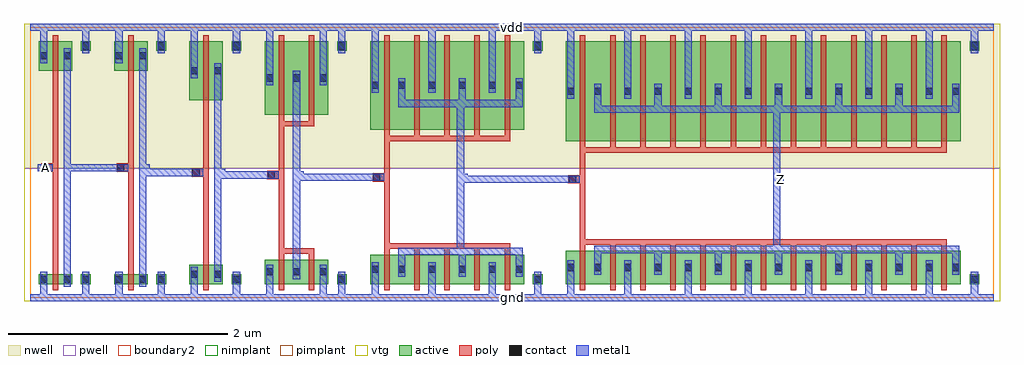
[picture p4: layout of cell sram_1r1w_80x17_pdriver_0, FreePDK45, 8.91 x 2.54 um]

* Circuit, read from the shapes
.subckt sram_1r1w_80x17_pdriver_0 A Z gnd vdd
M1 sram_1r1w_80x17_pinv_7_1/A A gnd gnd nfet w=0.09u l=0.05u
M2 sram_1r1w_80x17_pinv_8_2/A sram_1r1w_80x17_pinv_7_1/A gnd gnd nfet w=0.09u l=0.05u
M3 sram_1r1w_80x17_pinv_9_3/A sram_1r1w_80x17_pinv_8_2/A gnd gnd nfet w=0.18u l=0.05u
M4 sram_1r1w_80x17_pinv_10_4/A sram_1r1w_80x17_pinv_9_3/A gnd gnd nfet w=0.225u l=0.05u m=2
M5 sram_1r1w_80x17_pinv_11_5/A sram_1r1w_80x17_pinv_10_4/A gnd gnd nfet w=0.27u l=0.05u m=5
M6 Z sram_1r1w_80x17_pinv_11_5/A gnd gnd nfet w=0.305u l=0.05u m=13
M7 sram_1r1w_80x17_pinv_7_1/A A vdd vdd pfet w=0.27u l=0.05u
M8 sram_1r1w_80x17_pinv_8_2/A sram_1r1w_80x17_pinv_7_1/A vdd vdd pfet w=0.27u l=0.05u
M9 sram_1r1w_80x17_pinv_9_3/A sram_1r1w_80x17_pinv_8_2/A vdd vdd pfet w=0.54u l=0.05u
M10 sram_1r1w_80x17_pinv_10_4/A sram_1r1w_80x17_pinv_9_3/A vdd vdd pfet w=0.675u l=0.05u m=2
M11 sram_1r1w_80x17_pinv_11_5/A sram_1r1w_80x17_pinv_10_4/A vdd vdd pfet w=0.81u l=0.05u m=5
M12 Z sram_1r1w_80x17_pinv_11_5/A vdd vdd pfet w=0.915u l=0.05u m=13
.ends

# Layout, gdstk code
import gdstk
lib = gdstk.Library(unit=1e-6, precision=5e-10)
def R(c, l, rs):  # rectangles x0, y0, x1, y1
    for r in rs: c.add(gdstk.rectangle(r[:2], r[2:], *l))
def A(c, l, x, y, w, h, nx, ny, dx, dy):  # array of equal rectangles
    R(c, l, [(x+i*dx, y+j*dy, x+i*dx+w, y+j*dy+h) for i in range(nx) for j in range(ny)])
active = (1, 0)
pwell = (2, 0)
nwell = (3, 0)
nimplant = (4, 0)
pimplant = (5, 0)
vtg = (6, 0)
poly = (9, 0)
contact = (10, 0)
metal1 = (11, 0)
boundary2 = (239, 0)

sram_1r1w_80x17_contact_ = lib.new_cell('sram_1r1w_80x17_contact_11')
R(sram_1r1w_80x17_contact_, active, [(0,0.0225,0.09,0.1125)])
R(sram_1r1w_80x17_contact_, nwell, [(-0.055,-0.0325,0.145,0.1675)])
R(sram_1r1w_80x17_contact_, pimplant, [(0,0.0225,0.09,0.1125)])
R(sram_1r1w_80x17_contact_, contact, [(0.0125,0.035,0.0775,0.1)])
R(sram_1r1w_80x17_contact_, metal1, [(0.0125,0,0.0775,0.135)])
R(sram_1r1w_80x17_contact_, boundary2, [(-0.055,-0.0325,0.145,0.1675)])

sram_1r1w_80x17_pmos_m1_ = lib.new_cell('sram_1r1w_80x17_pmos_m1_w0_270_sm1_dm1_da_p')
R(sram_1r1w_80x17_pmos_m1_, active, [(0,0,0.305,0.27)])
R(sram_1r1w_80x17_pmos_m1_, nwell, [(-0.08,-0.08,0.385,0.35)])
R(sram_1r1w_80x17_pmos_m1_, pimplant, [(0,0,0.305,0.27)])
R(sram_1r1w_80x17_pmos_m1_, vtg, [(-0.08,-0.08,0.385,0.35)])
R(sram_1r1w_80x17_pmos_m1_, poly, [(0.1275,-0.055,0.1775,0.325), (0.1275,-0.055,0.1775,0.325)])
R(sram_1r1w_80x17_pmos_m1_, metal1, [(0.0125,0.0675,0.0775,0.2025), (0.2275,0.0675,0.2925,0.2025)])
R(sram_1r1w_80x17_pmos_m1_, boundary2, [(-0.08,-0.08,0.385,0.35)])
sram_1r1w_80x17_pmos_m1_.add(gdstk.Reference(sram_1r1w_80x17_contact_, (0,0.0675)))
sram_1r1w_80x17_pmos_m1_.add(gdstk.Reference(sram_1r1w_80x17_contact_, (0.215,0.0675)))
sram_1r1w_80x17_pmos_m1_.add(gdstk.Label('G', (0.1525,0.135), layer=9, texttype=0))
sram_1r1w_80x17_pmos_m1_.add(gdstk.Label('S', (0.045,0.135), layer=11, texttype=0))
sram_1r1w_80x17_pmos_m1_.add(gdstk.Label('D', (0.26,0.135), layer=11, texttype=0))

c_sram_1r1w_80x17_contact_ = lib.new_cell('sram_1r1w_80x17_contact_10')
R(c_sram_1r1w_80x17_contact_, active, [(0,0.0225,0.09,0.1125)])
R(c_sram_1r1w_80x17_contact_, pwell, [(-0.055,-0.0325,0.145,0.1675)])
R(c_sram_1r1w_80x17_contact_, nimplant, [(0,0.0225,0.09,0.1125)])
R(c_sram_1r1w_80x17_contact_, contact, [(0.0125,0.035,0.0775,0.1)])
R(c_sram_1r1w_80x17_contact_, metal1, [(0.0125,0,0.0775,0.135)])
R(c_sram_1r1w_80x17_contact_, boundary2, [(-0.055,-0.0325,0.145,0.1675)])

sram_1r1w_80x17_nmos_m1_ = lib.new_cell('sram_1r1w_80x17_nmos_m1_w0_090_sm1_dm1_da_p')
R(sram_1r1w_80x17_nmos_m1_, active, [(0,0,0.305,0.09)])
R(sram_1r1w_80x17_nmos_m1_, pwell, [(-0.08,-0.08,0.385,0.17)])
R(sram_1r1w_80x17_nmos_m1_, nimplant, [(0,0,0.305,0.09)])
R(sram_1r1w_80x17_nmos_m1_, vtg, [(-0.08,-0.08,0.385,0.17)])
R(sram_1r1w_80x17_nmos_m1_, poly, [(0.1275,-0.055,0.1775,0.145), (0.1275,-0.055,0.1775,0.145)])
R(sram_1r1w_80x17_nmos_m1_, metal1, [(0.0125,-0.0225,0.0775,0.1125), (0.2275,-0.0225,0.2925,0.1125)])
R(sram_1r1w_80x17_nmos_m1_, boundary2, [(-0.08,-0.08,0.385,0.17)])
sram_1r1w_80x17_nmos_m1_.add(gdstk.Reference(c_sram_1r1w_80x17_contact_, (0,-0.0225)))
sram_1r1w_80x17_nmos_m1_.add(gdstk.Reference(c_sram_1r1w_80x17_contact_, (0.215,-0.0225)))
sram_1r1w_80x17_nmos_m1_.add(gdstk.Label('G', (0.1525,0.045), layer=9, texttype=0))
sram_1r1w_80x17_nmos_m1_.add(gdstk.Label('S', (0.045,0.045), layer=11, texttype=0))
sram_1r1w_80x17_nmos_m1_.add(gdstk.Label('D', (0.26,0.045), layer=11, texttype=0))

c_sram_1r1w_80x17_contact__ = lib.new_cell('sram_1r1w_80x17_contact_12')
R(c_sram_1r1w_80x17_contact__, active, [(0,0.0225,0.09,0.1125)])
R(c_sram_1r1w_80x17_contact__, nwell, [(-0.055,-0.0325,0.145,0.1675)])
R(c_sram_1r1w_80x17_contact__, nimplant, [(0,0.0225,0.09,0.1125)])
R(c_sram_1r1w_80x17_contact__, contact, [(0.0125,0.035,0.0775,0.1)])
R(c_sram_1r1w_80x17_contact__, metal1, [(0.0125,0,0.0775,0.135)])
R(c_sram_1r1w_80x17_contact__, boundary2, [(-0.055,-0.0325,0.145,0.1675)])

c_sram_1r1w_80x17_contact___ = lib.new_cell('sram_1r1w_80x17_contact_13')
R(c_sram_1r1w_80x17_contact___, active, [(0,0.0225,0.09,0.1125)])
R(c_sram_1r1w_80x17_contact___, pwell, [(-0.055,-0.0325,0.145,0.1675)])
R(c_sram_1r1w_80x17_contact___, pimplant, [(0,0.0225,0.09,0.1125)])
R(c_sram_1r1w_80x17_contact___, contact, [(0.0125,0.035,0.0775,0.1)])
R(c_sram_1r1w_80x17_contact___, metal1, [(0.0125,0,0.0775,0.135)])
R(c_sram_1r1w_80x17_contact___, boundary2, [(-0.055,-0.0325,0.145,0.1675)])

c_sram_1r1w_80x17_contact____ = lib.new_cell('sram_1r1w_80x17_contact_14')
R(c_sram_1r1w_80x17_contact____, poly, [(0.03,0,0.105,0.075)])
R(c_sram_1r1w_80x17_contact____, contact, [(0.035,0.005,0.1,0.07)])
R(c_sram_1r1w_80x17_contact____, metal1, [(0,0.005,0.135,0.07)])
R(c_sram_1r1w_80x17_contact____, boundary2, [(0,0,0.135,0.075)])

sram_1r1w_80x17_pinv_7 = lib.new_cell('sram_1r1w_80x17_pinv_7')
R(sram_1r1w_80x17_pinv_7, pwell, [(-0.055,-0.0325,0.7425,1.185)])
R(sram_1r1w_80x17_pinv_7, nwell, [(-0.055,1.185,0.7425,2.505)])
R(sram_1r1w_80x17_pinv_7, vtg, [(-0.055,-0.0325,0.7425,1.185), (-0.055,1.185,0.7425,2.505)])
R(sram_1r1w_80x17_pinv_7, poly, [(0.2075,0.27,0.2575,2.02), (0.14,1.1525,0.2075,1.2275)])
R(sram_1r1w_80x17_pinv_7, metal1, [(0,-0.0325,0.6875,0.0325), (0.0925,-0.0325,0.1575,0.1025), (0.4775,0,0.5425,0.17), (0.3075,0.1025,0.3725,2.2775), (0.0725,1.1575,0.2075,1.2225), (0.34,1.1575,0.405,1.2225), (0.0925,2.1425,0.1575,2.5025), (0.4775,2.3,0.5425,2.47), (0,2.4375,0.6875,2.5025)])
R(sram_1r1w_80x17_pinv_7, boundary2, [(0,0,0.6875,2.47), (0,0,0.6875,2.47)])
sram_1r1w_80x17_pinv_7.add(gdstk.Reference(sram_1r1w_80x17_pmos_m1_, (0.08,2.075)))
sram_1r1w_80x17_pinv_7.add(gdstk.Reference(sram_1r1w_80x17_nmos_m1_, (0.08,0.125)))
sram_1r1w_80x17_pinv_7.add(gdstk.Reference(c_sram_1r1w_80x17_contact__, (0.465,2.2325)))
sram_1r1w_80x17_pinv_7.add(gdstk.Reference(c_sram_1r1w_80x17_contact___, (0.465,0.1025)))
sram_1r1w_80x17_pinv_7.add(gdstk.Reference(c_sram_1r1w_80x17_contact____, (0.0725,1.1525)))
sram_1r1w_80x17_pinv_7.add(gdstk.Label('A', (0.14,1.19), layer=11, texttype=0))
sram_1r1w_80x17_pinv_7.add(gdstk.Label('Z', (0.3725,1.19), layer=11, texttype=0))
sram_1r1w_80x17_pinv_7.add(gdstk.Label('gnd', (0.344,0), layer=11, texttype=0))
sram_1r1w_80x17_pinv_7.add(gdstk.Label('vdd', (0.344,2.47), layer=11, texttype=0))

c_sram_1r1w_80x17_pmos_m1_ = lib.new_cell('sram_1r1w_80x17_pmos_m1_w0_540_sm1_dm1_da_p')
R(c_sram_1r1w_80x17_pmos_m1_, active, [(0,0,0.305,0.54)])
R(c_sram_1r1w_80x17_pmos_m1_, nwell, [(-0.08,-0.08,0.385,0.62)])
R(c_sram_1r1w_80x17_pmos_m1_, pimplant, [(0,0,0.305,0.54)])
R(c_sram_1r1w_80x17_pmos_m1_, vtg, [(-0.08,-0.08,0.385,0.62)])
R(c_sram_1r1w_80x17_pmos_m1_, poly, [(0.1275,-0.055,0.1775,0.595), (0.1275,-0.055,0.1775,0.595)])
R(c_sram_1r1w_80x17_pmos_m1_, metal1, [(0.0125,0.2025,0.0775,0.3375), (0.2275,0.2025,0.2925,0.3375)])
R(c_sram_1r1w_80x17_pmos_m1_, boundary2, [(-0.08,-0.08,0.385,0.62)])
c_sram_1r1w_80x17_pmos_m1_.add(gdstk.Reference(sram_1r1w_80x17_contact_, (0,0.2025)))
c_sram_1r1w_80x17_pmos_m1_.add(gdstk.Reference(sram_1r1w_80x17_contact_, (0.215,0.2025)))
c_sram_1r1w_80x17_pmos_m1_.add(gdstk.Label('G', (0.1525,0.27), layer=9, texttype=0))
c_sram_1r1w_80x17_pmos_m1_.add(gdstk.Label('S', (0.045,0.27), layer=11, texttype=0))
c_sram_1r1w_80x17_pmos_m1_.add(gdstk.Label('D', (0.26,0.27), layer=11, texttype=0))

c_sram_1r1w_80x17_nmos_m1_ = lib.new_cell('sram_1r1w_80x17_nmos_m1_w0_180_sm1_dm1_da_p')
R(c_sram_1r1w_80x17_nmos_m1_, active, [(0,0,0.305,0.18)])
R(c_sram_1r1w_80x17_nmos_m1_, pwell, [(-0.08,-0.08,0.385,0.26)])
R(c_sram_1r1w_80x17_nmos_m1_, nimplant, [(0,0,0.305,0.18)])
R(c_sram_1r1w_80x17_nmos_m1_, vtg, [(-0.08,-0.08,0.385,0.26)])
R(c_sram_1r1w_80x17_nmos_m1_, poly, [(0.1275,-0.055,0.1775,0.235), (0.1275,-0.055,0.1775,0.235)])
R(c_sram_1r1w_80x17_nmos_m1_, metal1, [(0.0125,0.0225,0.0775,0.1575), (0.2275,0.0225,0.2925,0.1575)])
R(c_sram_1r1w_80x17_nmos_m1_, boundary2, [(-0.08,-0.08,0.385,0.26)])
c_sram_1r1w_80x17_nmos_m1_.add(gdstk.Reference(c_sram_1r1w_80x17_contact_, (0,0.0225)))
c_sram_1r1w_80x17_nmos_m1_.add(gdstk.Reference(c_sram_1r1w_80x17_contact_, (0.215,0.0225)))
c_sram_1r1w_80x17_nmos_m1_.add(gdstk.Label('G', (0.1525,0.09), layer=9, texttype=0))
c_sram_1r1w_80x17_nmos_m1_.add(gdstk.Label('S', (0.045,0.09), layer=11, texttype=0))
c_sram_1r1w_80x17_nmos_m1_.add(gdstk.Label('D', (0.26,0.09), layer=11, texttype=0))

sram_1r1w_80x17_pinv_8 = lib.new_cell('sram_1r1w_80x17_pinv_8')
R(sram_1r1w_80x17_pinv_8, pwell, [(-0.055,-0.0325,0.7425,1.185)])
R(sram_1r1w_80x17_pinv_8, nwell, [(-0.055,1.185,0.7425,2.505)])
R(sram_1r1w_80x17_pinv_8, vtg, [(-0.055,-0.0325,0.7425,1.185), (-0.055,1.185,0.7425,2.505)])
R(sram_1r1w_80x17_pinv_8, poly, [(0.2075,0.36,0.2575,1.75), (0.14,1.1075,0.2075,1.1825)])
R(sram_1r1w_80x17_pinv_8, metal1, [(0,-0.0325,0.6875,0.0325), (0.0925,-0.0325,0.1575,0.1475), (0.4775,0,0.5425,0.17), (0.3075,0.1475,0.3725,2.1425), (0.0725,1.1125,0.2075,1.1775), (0.34,1.1125,0.405,1.1775), (0.0925,2.0075,0.1575,2.5025), (0.4775,2.3,0.5425,2.47), (0,2.4375,0.6875,2.5025)])
R(sram_1r1w_80x17_pinv_8, boundary2, [(0,0,0.6875,2.47), (0,0,0.6875,2.47)])
sram_1r1w_80x17_pinv_8.add(gdstk.Reference(c_sram_1r1w_80x17_pmos_m1_, (0.08,1.805)))
sram_1r1w_80x17_pinv_8.add(gdstk.Reference(c_sram_1r1w_80x17_nmos_m1_, (0.08,0.125)))
sram_1r1w_80x17_pinv_8.add(gdstk.Reference(c_sram_1r1w_80x17_contact__, (0.465,2.2325)))
sram_1r1w_80x17_pinv_8.add(gdstk.Reference(c_sram_1r1w_80x17_contact___, (0.465,0.1025)))
sram_1r1w_80x17_pinv_8.add(gdstk.Reference(c_sram_1r1w_80x17_contact____, (0.0725,1.1075)))
sram_1r1w_80x17_pinv_8.add(gdstk.Label('A', (0.14,1.145), layer=11, texttype=0))
sram_1r1w_80x17_pinv_8.add(gdstk.Label('Z', (0.3725,1.145), layer=11, texttype=0))
sram_1r1w_80x17_pinv_8.add(gdstk.Label('gnd', (0.344,0), layer=11, texttype=0))
sram_1r1w_80x17_pinv_8.add(gdstk.Label('vdd', (0.344,2.47), layer=11, texttype=0))

sram_1r1w_80x17_pmos_m2_ = lib.new_cell('sram_1r1w_80x17_pmos_m2_w0_675_sm1_dm1_da_p')
R(sram_1r1w_80x17_pmos_m2_, active, [(0,0,0.58,0.675)])
R(sram_1r1w_80x17_pmos_m2_, nwell, [(-0.08,-0.08,0.66,0.755)])
R(sram_1r1w_80x17_pmos_m2_, pimplant, [(0,0,0.58,0.675)])
R(sram_1r1w_80x17_pmos_m2_, vtg, [(-0.08,-0.08,0.66,0.755)])
R(sram_1r1w_80x17_pmos_m2_, poly, [(0.1275,-0.105,0.4525,-0.055), (0.1275,-0.055,0.1775,0.73), (0.4025,-0.055,0.4525,0.73)])
A(sram_1r1w_80x17_pmos_m2_, metal1, 0.0125, 0.27, 0.065, 0.135, 3, 1, 0.245, 0)
R(sram_1r1w_80x17_pmos_m2_, boundary2, [(-0.08,-0.105,0.66,0.755)])
sram_1r1w_80x17_pmos_m2_.add(gdstk.Reference(sram_1r1w_80x17_contact_, (0,0.27)))
sram_1r1w_80x17_pmos_m2_.add(gdstk.Reference(sram_1r1w_80x17_contact_, (0.245,0.27)))
sram_1r1w_80x17_pmos_m2_.add(gdstk.Reference(sram_1r1w_80x17_contact_, (0.49,0.27)))
sram_1r1w_80x17_pmos_m2_.add(gdstk.Label('G', (0.29,-0.08), layer=9, texttype=0))
sram_1r1w_80x17_pmos_m2_.add(gdstk.Label('S', (0.535,0.3375), layer=11, texttype=0))
sram_1r1w_80x17_pmos_m2_.add(gdstk.Label('S', (0.045,0.3375), layer=11, texttype=0))
sram_1r1w_80x17_pmos_m2_.add(gdstk.Label('D', (0.29,0.3375), layer=11, texttype=0))

sram_1r1w_80x17_nmos_m2_ = lib.new_cell('sram_1r1w_80x17_nmos_m2_w0_225_sm1_dm1_da_p')
R(sram_1r1w_80x17_nmos_m2_, active, [(0,0,0.58,0.225)])
R(sram_1r1w_80x17_nmos_m2_, pwell, [(-0.08,-0.08,0.66,0.305)])
R(sram_1r1w_80x17_nmos_m2_, nimplant, [(0,0,0.58,0.225)])
R(sram_1r1w_80x17_nmos_m2_, vtg, [(-0.08,-0.08,0.66,0.305)])
R(sram_1r1w_80x17_nmos_m2_, poly, [(0.1275,-0.055,0.1775,0.28), (0.4025,-0.055,0.4525,0.28), (0.1275,0.28,0.4525,0.33)])
A(sram_1r1w_80x17_nmos_m2_, metal1, 0.0125, 0.045, 0.065, 0.135, 3, 1, 0.245, 0)
R(sram_1r1w_80x17_nmos_m2_, boundary2, [(-0.08,-0.08,0.66,0.33)])
sram_1r1w_80x17_nmos_m2_.add(gdstk.Reference(c_sram_1r1w_80x17_contact_, (0,0.045)))
sram_1r1w_80x17_nmos_m2_.add(gdstk.Reference(c_sram_1r1w_80x17_contact_, (0.245,0.045)))
sram_1r1w_80x17_nmos_m2_.add(gdstk.Reference(c_sram_1r1w_80x17_contact_, (0.49,0.045)))
sram_1r1w_80x17_nmos_m2_.add(gdstk.Label('G', (0.29,0.305), layer=9, texttype=0))
sram_1r1w_80x17_nmos_m2_.add(gdstk.Label('S', (0.535,0.1125), layer=11, texttype=0))
sram_1r1w_80x17_nmos_m2_.add(gdstk.Label('S', (0.045,0.1125), layer=11, texttype=0))
sram_1r1w_80x17_nmos_m2_.add(gdstk.Label('D', (0.29,0.1125), layer=11, texttype=0))

sram_1r1w_80x17_pinv_9 = lib.new_cell('sram_1r1w_80x17_pinv_9')
R(sram_1r1w_80x17_pinv_9, pwell, [(-0.055,-0.0325,1.0175,1.185)])
R(sram_1r1w_80x17_pinv_9, nwell, [(-0.055,1.185,1.0175,2.505)])
R(sram_1r1w_80x17_pinv_9, vtg, [(-0.055,-0.0325,1.0175,1.185), (-0.055,1.185,1.0175,2.505)])
R(sram_1r1w_80x17_pinv_9, poly, [(0.2075,0.455,0.2575,1.565), (0.14,1.085,0.2075,1.16)])
R(sram_1r1w_80x17_pinv_9, metal1, [(0,-0.0325,0.9625,0.0325), (0.0925,-0.0325,0.1575,0.17), (0.5825,-0.0325,0.6475,0.17), (0.7525,0,0.8175,0.17), (0.3375,0.17,0.4025,2.075), (0.0725,1.09,0.2075,1.155), (0.37,1.09,0.435,1.155), (0.0925,1.94,0.1575,2.5025), (0.5825,1.94,0.6475,2.5025), (0.7525,2.3,0.8175,2.47), (0,2.4375,0.9625,2.5025)])
R(sram_1r1w_80x17_pinv_9, boundary2, [(0,0,0.9625,2.47), (0,0,0.9625,2.47)])
sram_1r1w_80x17_pinv_9.add(gdstk.Reference(sram_1r1w_80x17_pmos_m2_, (0.08,1.67)))
sram_1r1w_80x17_pinv_9.add(gdstk.Reference(sram_1r1w_80x17_nmos_m2_, (0.08,0.125)))
sram_1r1w_80x17_pinv_9.add(gdstk.Reference(c_sram_1r1w_80x17_contact__, (0.74,2.2325)))
sram_1r1w_80x17_pinv_9.add(gdstk.Reference(c_sram_1r1w_80x17_contact___, (0.74,0.1025)))
sram_1r1w_80x17_pinv_9.add(gdstk.Reference(c_sram_1r1w_80x17_contact____, (0.0725,1.085)))
sram_1r1w_80x17_pinv_9.add(gdstk.Label('A', (0.14,1.1225), layer=11, texttype=0))
sram_1r1w_80x17_pinv_9.add(gdstk.Label('Z', (0.4025,1.1225), layer=11, texttype=0))
sram_1r1w_80x17_pinv_9.add(gdstk.Label('gnd', (0.481,0), layer=11, texttype=0))
sram_1r1w_80x17_pinv_9.add(gdstk.Label('vdd', (0.481,2.47), layer=11, texttype=0))

sram_1r1w_80x17_pmos_m5_ = lib.new_cell('sram_1r1w_80x17_pmos_m5_w0_810_sm1_dm1_da_p')
R(sram_1r1w_80x17_pmos_m5_, active, [(0,0,1.405,0.81)])
R(sram_1r1w_80x17_pmos_m5_, nwell, [(-0.08,-0.08,1.485,0.89)])
R(sram_1r1w_80x17_pmos_m5_, pimplant, [(0,0,1.405,0.81)])
R(sram_1r1w_80x17_pmos_m5_, vtg, [(-0.08,-0.08,1.485,0.89)])
A(sram_1r1w_80x17_pmos_m5_, poly, 0.1275, -0.055, 0.05, 0.92, 5, 1, 0.275, 0)
R(sram_1r1w_80x17_pmos_m5_, poly, [(0.1275,-0.105,1.2775,-0.055)])
R(sram_1r1w_80x17_pmos_m5_, metal1, [(0.2575,0.2075,1.3925,0.2725), (0.2575,0.24,0.3225,0.405), (0.8075,0.24,0.8725,0.405), (1.3275,0.24,1.3925,0.405), (0.0125,0.3375,0.0775,0.4725), (0.5325,0.3375,0.5975,0.4725), (1.0825,0.3375,1.1475,0.4725)])
R(sram_1r1w_80x17_pmos_m5_, boundary2, [(-0.08,-0.105,1.485,0.89)])
sram_1r1w_80x17_pmos_m5_.add(gdstk.Reference(sram_1r1w_80x17_contact_, (0,0.3375)))
sram_1r1w_80x17_pmos_m5_.add(gdstk.Reference(sram_1r1w_80x17_contact_, (0.245,0.3375)))
sram_1r1w_80x17_pmos_m5_.add(gdstk.Reference(sram_1r1w_80x17_contact_, (0.52,0.3375)))
sram_1r1w_80x17_pmos_m5_.add(gdstk.Reference(sram_1r1w_80x17_contact_, (0.795,0.3375)))
sram_1r1w_80x17_pmos_m5_.add(gdstk.Reference(sram_1r1w_80x17_contact_, (1.07,0.3375)))
sram_1r1w_80x17_pmos_m5_.add(gdstk.Reference(sram_1r1w_80x17_contact_, (1.315,0.3375)))
sram_1r1w_80x17_pmos_m5_.add(gdstk.Label('G', (0.7025,-0.08), layer=9, texttype=0))
sram_1r1w_80x17_pmos_m5_.add(gdstk.Label('S', (0.045,0.405), layer=11, texttype=0))
sram_1r1w_80x17_pmos_m5_.add(gdstk.Label('S', (1.115,0.405), layer=11, texttype=0))
sram_1r1w_80x17_pmos_m5_.add(gdstk.Label('S', (0.565,0.405), layer=11, texttype=0))
sram_1r1w_80x17_pmos_m5_.add(gdstk.Label('D', (0.825,0.24), layer=11, texttype=0))

sram_1r1w_80x17_nmos_m5_ = lib.new_cell('sram_1r1w_80x17_nmos_m5_w0_270_sm1_dm1_da_p')
R(sram_1r1w_80x17_nmos_m5_, active, [(0,0,1.405,0.27)])
R(sram_1r1w_80x17_nmos_m5_, pwell, [(-0.08,-0.08,1.485,0.35)])
R(sram_1r1w_80x17_nmos_m5_, nimplant, [(0,0,1.405,0.27)])
R(sram_1r1w_80x17_nmos_m5_, vtg, [(-0.08,-0.08,1.485,0.35)])
A(sram_1r1w_80x17_nmos_m5_, poly, 0.1275, -0.055, 0.05, 0.38, 5, 1, 0.275, 0)
R(sram_1r1w_80x17_nmos_m5_, poly, [(0.1275,0.325,1.2775,0.375)])
R(sram_1r1w_80x17_nmos_m5_, metal1, [(0.0125,0.0675,0.0775,0.2025), (0.5325,0.0675,0.5975,0.2025), (1.0825,0.0675,1.1475,0.2025), (0.2575,0.135,0.3225,0.3), (0.8075,0.135,0.8725,0.3), (1.3275,0.135,1.3925,0.3), (0.2575,0.2675,1.3925,0.3325)])
R(sram_1r1w_80x17_nmos_m5_, boundary2, [(-0.08,-0.08,1.485,0.375)])
sram_1r1w_80x17_nmos_m5_.add(gdstk.Reference(c_sram_1r1w_80x17_contact_, (0,0.0675)))
sram_1r1w_80x17_nmos_m5_.add(gdstk.Reference(c_sram_1r1w_80x17_contact_, (0.245,0.0675)))
sram_1r1w_80x17_nmos_m5_.add(gdstk.Reference(c_sram_1r1w_80x17_contact_, (0.52,0.0675)))
sram_1r1w_80x17_nmos_m5_.add(gdstk.Reference(c_sram_1r1w_80x17_contact_, (0.795,0.0675)))
sram_1r1w_80x17_nmos_m5_.add(gdstk.Reference(c_sram_1r1w_80x17_contact_, (1.07,0.0675)))
sram_1r1w_80x17_nmos_m5_.add(gdstk.Reference(c_sram_1r1w_80x17_contact_, (1.315,0.0675)))
sram_1r1w_80x17_nmos_m5_.add(gdstk.Label('G', (0.7025,0.35), layer=9, texttype=0))
sram_1r1w_80x17_nmos_m5_.add(gdstk.Label('S', (0.565,0.135), layer=11, texttype=0))
sram_1r1w_80x17_nmos_m5_.add(gdstk.Label('S', (0.045,0.135), layer=11, texttype=0))
sram_1r1w_80x17_nmos_m5_.add(gdstk.Label('S', (1.115,0.135), layer=11, texttype=0))
sram_1r1w_80x17_nmos_m5_.add(gdstk.Label('D', (0.825,0.3), layer=11, texttype=0))

sram_1r1w_80x17_pinv_10 = lib.new_cell('sram_1r1w_80x17_pinv_10')
R(sram_1r1w_80x17_pinv_10, pwell, [(-0.055,-0.0325,1.8425,1.185)])
R(sram_1r1w_80x17_pinv_10, nwell, [(-0.055,1.185,1.8425,2.505)])
R(sram_1r1w_80x17_pinv_10, vtg, [(-0.055,-0.0325,1.8425,1.185), (-0.055,1.185,1.8425,2.505)])
R(sram_1r1w_80x17_pinv_10, poly, [(0.2075,0.5,0.2575,1.43), (0.14,1.0625,0.2075,1.1375)])
R(sram_1r1w_80x17_pinv_10, metal1, [(0,-0.0325,1.7875,0.0325), (0.0925,-0.0325,0.1575,0.1925), (0.6125,-0.0325,0.6775,0.1925), (1.1625,-0.0325,1.2275,0.1925), (1.5775,0,1.6425,0.17), (0.8725,0.3925,0.9375,1.8075), (0.0725,1.0675,0.2075,1.1325), (0.905,1.0675,0.97,1.1325), (0.0925,1.8725,0.1575,2.5025), (0.6125,1.8725,0.6775,2.5025), (1.1625,1.8725,1.2275,2.5025), (1.5775,2.3,1.6425,2.47), (0,2.4375,1.7875,2.5025)])
R(sram_1r1w_80x17_pinv_10, boundary2, [(0,0,1.7875,2.47), (0,0,1.7875,2.47)])
sram_1r1w_80x17_pinv_10.add(gdstk.Reference(sram_1r1w_80x17_pmos_m5_, (0.08,1.535)))
sram_1r1w_80x17_pinv_10.add(gdstk.Reference(sram_1r1w_80x17_nmos_m5_, (0.08,0.125)))
sram_1r1w_80x17_pinv_10.add(gdstk.Reference(c_sram_1r1w_80x17_contact__, (1.565,2.2325)))
sram_1r1w_80x17_pinv_10.add(gdstk.Reference(c_sram_1r1w_80x17_contact___, (1.565,0.1025)))
sram_1r1w_80x17_pinv_10.add(gdstk.Reference(c_sram_1r1w_80x17_contact____, (0.0725,1.0625)))
sram_1r1w_80x17_pinv_10.add(gdstk.Label('A', (0.14,1.1), layer=11, texttype=0))
sram_1r1w_80x17_pinv_10.add(gdstk.Label('Z', (0.9375,1.1), layer=11, texttype=0))
sram_1r1w_80x17_pinv_10.add(gdstk.Label('gnd', (0.894,0), layer=11, texttype=0))
sram_1r1w_80x17_pinv_10.add(gdstk.Label('vdd', (0.894,2.47), layer=11, texttype=0))

sram_1r1w_80x17_pmos_m13 = lib.new_cell('sram_1r1w_80x17_pmos_m13_w0_915_sm1_dm1_da_p')
R(sram_1r1w_80x17_pmos_m13, active, [(0,0,3.605,0.915)])
R(sram_1r1w_80x17_pmos_m13, nwell, [(-0.08,-0.08,3.685,0.995)])
R(sram_1r1w_80x17_pmos_m13, pimplant, [(0,0,3.605,0.915)])
R(sram_1r1w_80x17_pmos_m13, vtg, [(-0.08,-0.08,3.685,0.995)])
A(sram_1r1w_80x17_pmos_m13, poly, 0.1275, -0.055, 0.05, 1.025, 13, 1, 0.275, 0)
R(sram_1r1w_80x17_pmos_m13, poly, [(0.1275,-0.105,3.4775,-0.055)])
A(sram_1r1w_80x17_pmos_m13, metal1, 0.2575, 0.2925, 0.065, 0.165, 6, 1, 0.55, 0)
A(sram_1r1w_80x17_pmos_m13, metal1, 0.5325, 0.39, 0.065, 0.135, 6, 1, 0.55, 0)
R(sram_1r1w_80x17_pmos_m13, metal1, [(0.2575,0.26,3.5925,0.325), (3.5275,0.2925,3.5925,0.4575), (0.0125,0.39,0.0775,0.525)])
R(sram_1r1w_80x17_pmos_m13, boundary2, [(-0.08,-0.105,3.685,0.995)])
sram_1r1w_80x17_pmos_m13.add(gdstk.Reference(sram_1r1w_80x17_contact_, (0,0.39)))
sram_1r1w_80x17_pmos_m13.add(gdstk.Reference(sram_1r1w_80x17_contact_, (0.245,0.39)))
sram_1r1w_80x17_pmos_m13.add(gdstk.Reference(sram_1r1w_80x17_contact_, (0.52,0.39)))
sram_1r1w_80x17_pmos_m13.add(gdstk.Reference(sram_1r1w_80x17_contact_, (0.795,0.39)))
sram_1r1w_80x17_pmos_m13.add(gdstk.Reference(sram_1r1w_80x17_contact_, (1.07,0.39)))
sram_1r1w_80x17_pmos_m13.add(gdstk.Reference(sram_1r1w_80x17_contact_, (1.345,0.39)))
sram_1r1w_80x17_pmos_m13.add(gdstk.Reference(sram_1r1w_80x17_contact_, (1.62,0.39)))
sram_1r1w_80x17_pmos_m13.add(gdstk.Reference(sram_1r1w_80x17_contact_, (1.895,0.39)))
sram_1r1w_80x17_pmos_m13.add(gdstk.Reference(sram_1r1w_80x17_contact_, (2.17,0.39)))
sram_1r1w_80x17_pmos_m13.add(gdstk.Reference(sram_1r1w_80x17_contact_, (2.445,0.39)))
sram_1r1w_80x17_pmos_m13.add(gdstk.Reference(sram_1r1w_80x17_contact_, (2.72,0.39)))
sram_1r1w_80x17_pmos_m13.add(gdstk.Reference(sram_1r1w_80x17_contact_, (2.995,0.39)))
sram_1r1w_80x17_pmos_m13.add(gdstk.Reference(sram_1r1w_80x17_contact_, (3.27,0.39)))
sram_1r1w_80x17_pmos_m13.add(gdstk.Reference(sram_1r1w_80x17_contact_, (3.515,0.39)))
sram_1r1w_80x17_pmos_m13.add(gdstk.Label('G', (1.8025,-0.08), layer=9, texttype=0))
sram_1r1w_80x17_pmos_m13.add(gdstk.Label('S', (1.115,0.4575), layer=11, texttype=0))
sram_1r1w_80x17_pmos_m13.add(gdstk.Label('S', (1.665,0.4575), layer=11, texttype=0))
sram_1r1w_80x17_pmos_m13.add(gdstk.Label('S', (2.765,0.4575), layer=11, texttype=0))
sram_1r1w_80x17_pmos_m13.add(gdstk.Label('S', (0.565,0.4575), layer=11, texttype=0))
sram_1r1w_80x17_pmos_m13.add(gdstk.Label('S', (2.215,0.4575), layer=11, texttype=0))
sram_1r1w_80x17_pmos_m13.add(gdstk.Label('S', (3.315,0.4575), layer=11, texttype=0))
sram_1r1w_80x17_pmos_m13.add(gdstk.Label('S', (0.045,0.4575), layer=11, texttype=0))
sram_1r1w_80x17_pmos_m13.add(gdstk.Label('D', (1.925,0.2925), layer=11, texttype=0))

sram_1r1w_80x17_nmos_m13 = lib.new_cell('sram_1r1w_80x17_nmos_m13_w0_305_sm1_dm1_da_p')
R(sram_1r1w_80x17_nmos_m13, active, [(0,0,3.605,0.305)])
R(sram_1r1w_80x17_nmos_m13, pwell, [(-0.08,-0.08,3.685,0.385)])
R(sram_1r1w_80x17_nmos_m13, nimplant, [(0,0,3.605,0.305)])
R(sram_1r1w_80x17_nmos_m13, vtg, [(-0.08,-0.08,3.685,0.385)])
A(sram_1r1w_80x17_nmos_m13, poly, 0.1275, -0.055, 0.05, 0.415, 13, 1, 0.275, 0)
R(sram_1r1w_80x17_nmos_m13, poly, [(0.1275,0.36,3.4775,0.41)])
A(sram_1r1w_80x17_nmos_m13, metal1, 0.5325, 0.085, 0.065, 0.135, 6, 1, 0.55, 0)
A(sram_1r1w_80x17_nmos_m13, metal1, 0.2575, 0.1525, 0.065, 0.165, 6, 1, 0.55, 0)
R(sram_1r1w_80x17_nmos_m13, metal1, [(0.0125,0.085,0.0775,0.22), (3.5275,0.1525,3.5925,0.3175), (0.2575,0.285,3.5925,0.35)])
R(sram_1r1w_80x17_nmos_m13, boundary2, [(-0.08,-0.08,3.685,0.41)])
sram_1r1w_80x17_nmos_m13.add(gdstk.Reference(c_sram_1r1w_80x17_contact_, (0,0.085)))
sram_1r1w_80x17_nmos_m13.add(gdstk.Reference(c_sram_1r1w_80x17_contact_, (0.245,0.085)))
sram_1r1w_80x17_nmos_m13.add(gdstk.Reference(c_sram_1r1w_80x17_contact_, (0.52,0.085)))
sram_1r1w_80x17_nmos_m13.add(gdstk.Reference(c_sram_1r1w_80x17_contact_, (0.795,0.085)))
sram_1r1w_80x17_nmos_m13.add(gdstk.Reference(c_sram_1r1w_80x17_contact_, (1.07,0.085)))
sram_1r1w_80x17_nmos_m13.add(gdstk.Reference(c_sram_1r1w_80x17_contact_, (1.345,0.085)))
sram_1r1w_80x17_nmos_m13.add(gdstk.Reference(c_sram_1r1w_80x17_contact_, (1.62,0.085)))
sram_1r1w_80x17_nmos_m13.add(gdstk.Reference(c_sram_1r1w_80x17_contact_, (1.895,0.085)))
sram_1r1w_80x17_nmos_m13.add(gdstk.Reference(c_sram_1r1w_80x17_contact_, (2.17,0.085)))
sram_1r1w_80x17_nmos_m13.add(gdstk.Reference(c_sram_1r1w_80x17_contact_, (2.445,0.085)))
sram_1r1w_80x17_nmos_m13.add(gdstk.Reference(c_sram_1r1w_80x17_contact_, (2.72,0.085)))
sram_1r1w_80x17_nmos_m13.add(gdstk.Reference(c_sram_1r1w_80x17_contact_, (2.995,0.085)))
sram_1r1w_80x17_nmos_m13.add(gdstk.Reference(c_sram_1r1w_80x17_contact_, (3.27,0.085)))
sram_1r1w_80x17_nmos_m13.add(gdstk.Reference(c_sram_1r1w_80x17_contact_, (3.515,0.085)))
sram_1r1w_80x17_nmos_m13.add(gdstk.Label('G', (1.8025,0.385), layer=9, texttype=0))
sram_1r1w_80x17_nmos_m13.add(gdstk.Label('S', (2.765,0.1525), layer=11, texttype=0))
sram_1r1w_80x17_nmos_m13.add(gdstk.Label('S', (0.565,0.1525), layer=11, texttype=0))
sram_1r1w_80x17_nmos_m13.add(gdstk.Label('S', (1.115,0.1525), layer=11, texttype=0))
sram_1r1w_80x17_nmos_m13.add(gdstk.Label('S', (1.665,0.1525), layer=11, texttype=0))
sram_1r1w_80x17_nmos_m13.add(gdstk.Label('S', (0.045,0.1525), layer=11, texttype=0))
sram_1r1w_80x17_nmos_m13.add(gdstk.Label('S', (2.215,0.1525), layer=11, texttype=0))
sram_1r1w_80x17_nmos_m13.add(gdstk.Label('S', (3.315,0.1525), layer=11, texttype=0))
sram_1r1w_80x17_nmos_m13.add(gdstk.Label('D', (1.925,0.3175), layer=11, texttype=0))

sram_1r1w_80x17_pinv_11 = lib.new_cell('sram_1r1w_80x17_pinv_11')
R(sram_1r1w_80x17_pinv_11, pwell, [(-0.055,-0.0325,4.0425,1.185)])
R(sram_1r1w_80x17_pinv_11, nwell, [(-0.055,1.185,4.0425,2.505)])
R(sram_1r1w_80x17_pinv_11, vtg, [(-0.055,-0.0325,4.0425,1.185), (-0.055,1.185,4.0425,2.505)])
R(sram_1r1w_80x17_pinv_11, poly, [(0.2075,0.535,0.2575,1.325), (0.14,1.045,0.2075,1.12)])
A(sram_1r1w_80x17_pinv_11, metal1, 0.6125, -0.0325, 0.065, 0.2425, 6, 1, 0.55, 0)
A(sram_1r1w_80x17_pinv_11, metal1, 0.6125, 1.82, 0.065, 0.6825, 6, 1, 0.55, 0)
R(sram_1r1w_80x17_pinv_11, metal1, [(0,-0.0325,3.9875,0.0325), (0.0925,-0.0325,0.1575,0.21), (3.7775,0,3.8425,0.17), (1.9725,0.41,2.0375,1.755), (0.0725,1.05,0.2075,1.115), (2.005,1.05,2.07,1.115), (0.0925,1.82,0.1575,2.5025), (3.7775,2.3,3.8425,2.47), (0,2.4375,3.9875,2.5025)])
R(sram_1r1w_80x17_pinv_11, boundary2, [(0,0,3.9875,2.47), (0,0,3.9875,2.47)])
sram_1r1w_80x17_pinv_11.add(gdstk.Reference(sram_1r1w_80x17_pmos_m13, (0.08,1.43)))
sram_1r1w_80x17_pinv_11.add(gdstk.Reference(sram_1r1w_80x17_nmos_m13, (0.08,0.125)))
sram_1r1w_80x17_pinv_11.add(gdstk.Reference(c_sram_1r1w_80x17_contact__, (3.765,2.2325)))
sram_1r1w_80x17_pinv_11.add(gdstk.Reference(c_sram_1r1w_80x17_contact___, (3.765,0.1025)))
sram_1r1w_80x17_pinv_11.add(gdstk.Reference(c_sram_1r1w_80x17_contact____, (0.0725,1.045)))
sram_1r1w_80x17_pinv_11.add(gdstk.Label('A', (0.14,1.0825), layer=11, texttype=0))
sram_1r1w_80x17_pinv_11.add(gdstk.Label('Z', (2.0375,1.0825), layer=11, texttype=0))
sram_1r1w_80x17_pinv_11.add(gdstk.Label('gnd', (1.994,0), layer=11, texttype=0))
sram_1r1w_80x17_pinv_11.add(gdstk.Label('vdd', (1.994,2.47), layer=11, texttype=0))

sram_1r1w_80x17_pdriver_ = lib.new_cell('sram_1r1w_80x17_pdriver_0')
R(sram_1r1w_80x17_pdriver_, pwell, [(-0.055,-0.0325,8.855,1.185)])
R(sram_1r1w_80x17_pdriver_, nwell, [(-0.055,1.185,8.855,2.505)])
R(sram_1r1w_80x17_pdriver_, vtg, [(-0.055,-0.0325,8.855,1.185), (-0.055,1.185,8.855,2.505)])
R(sram_1r1w_80x17_pdriver_, metal1, [(0,-0.0325,8.8,0.0325), (3.93,1.05,3.995,1.115), (3.9625,1.05,4.9525,1.115), (6.8175,1.05,6.8825,1.115), (2.4325,1.0675,2.4975,1.1325), (2.465,1.0675,3.165,1.1325), (3.93,1.0825,3.995,1.1), (1.715,1.09,1.78,1.155), (1.7475,1.09,2.2025,1.155), (2.4325,1.1,2.4975,1.1225), (1.0275,1.1125,1.0925,1.1775), (1.06,1.1125,1.515,1.1775), (1.715,1.1225,1.78,1.145), (1.0275,1.145,1.0925,1.19), (0.0725,1.1575,0.2075,1.2225), (0.3725,1.1575,0.8275,1.2225), (0,2.4375,8.8,2.5025)])
R(sram_1r1w_80x17_pdriver_, boundary2, [(0,0,8.8,2.47), (0,0,8.8,2.47)])
sram_1r1w_80x17_pdriver_.add(gdstk.Reference(sram_1r1w_80x17_pinv_7, (0,0)))
sram_1r1w_80x17_pdriver_.add(gdstk.Reference(sram_1r1w_80x17_pinv_7, (0.6875,0)))
sram_1r1w_80x17_pdriver_.add(gdstk.Reference(sram_1r1w_80x17_pinv_8, (1.375,0)))
sram_1r1w_80x17_pdriver_.add(gdstk.Reference(sram_1r1w_80x17_pinv_9, (2.0625,0)))
sram_1r1w_80x17_pdriver_.add(gdstk.Reference(sram_1r1w_80x17_pinv_10, (3.025,0)))
sram_1r1w_80x17_pdriver_.add(gdstk.Reference(sram_1r1w_80x17_pinv_11, (4.8125,0)))
sram_1r1w_80x17_pdriver_.add(gdstk.Label('Z', (6.85,1.0825), layer=11, texttype=0))
sram_1r1w_80x17_pdriver_.add(gdstk.Label('A', (0.14,1.19), layer=11, texttype=0))
sram_1r1w_80x17_pdriver_.add(gdstk.Label('gnd', (4.4,0), layer=11, texttype=0))
sram_1r1w_80x17_pdriver_.add(gdstk.Label('vdd', (4.4,2.47), layer=11, texttype=0))

lib.write_gds('sram_1r1w_80x17_pdriver_0.gds')
